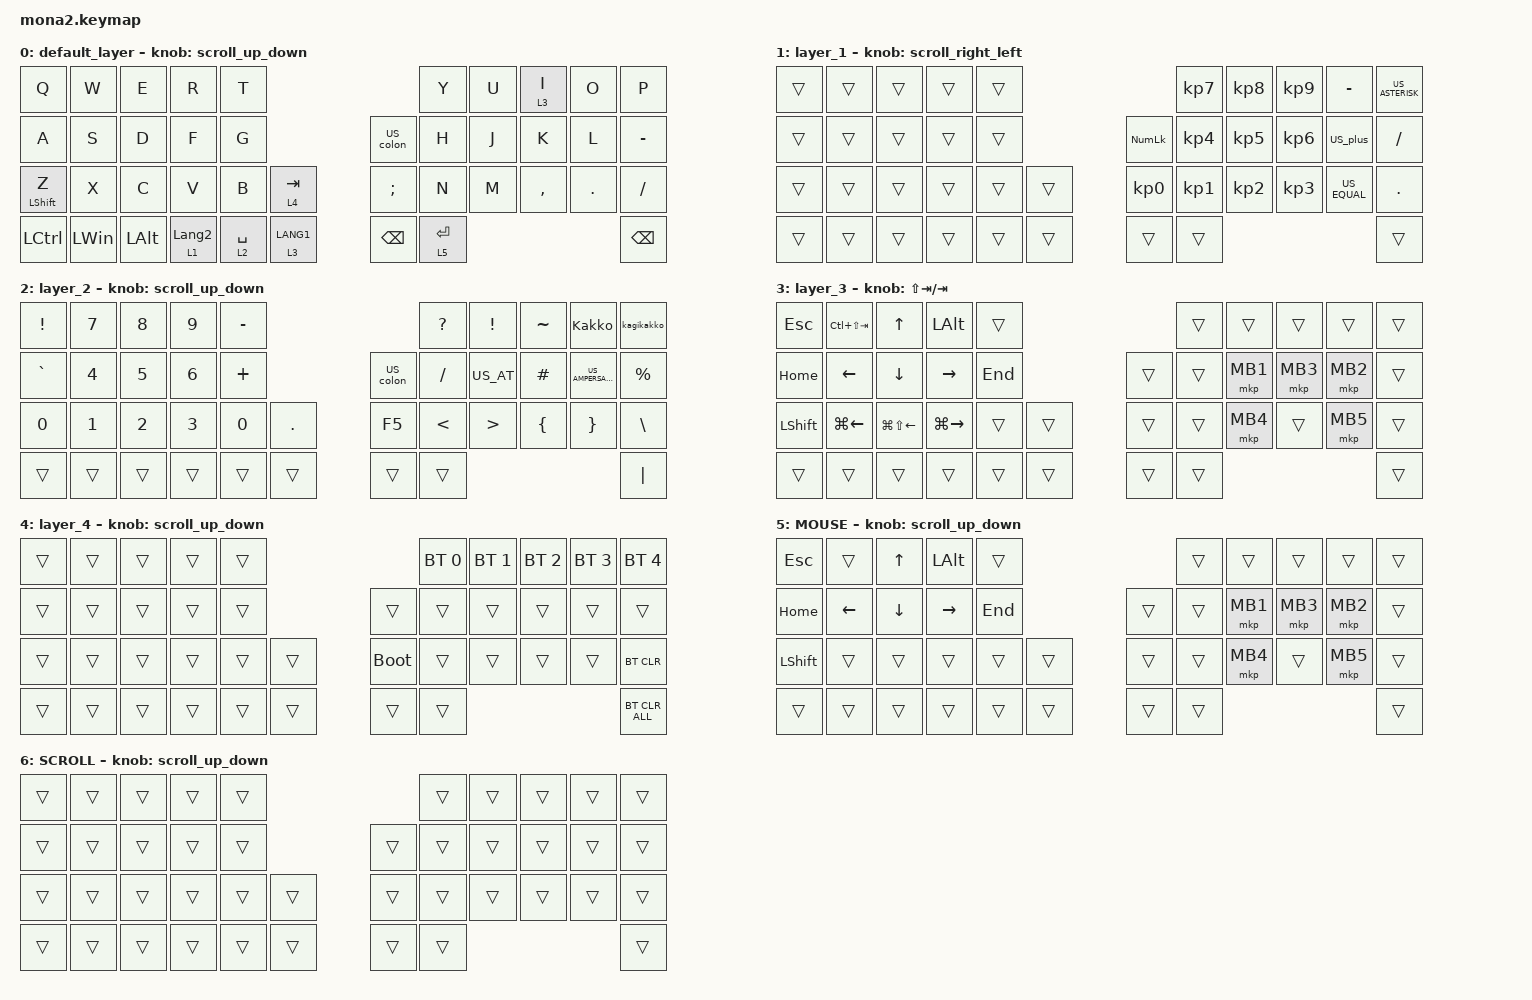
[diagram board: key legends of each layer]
#include <input/processors.dtsi>
#include <dt-bindings/zmk/input_transform.h>
#include <zephyr/dt-bindings/input/input-event-codes.h>
#include <behaviors.dtsi>
#include <dt-bindings/zmk/bt.h>
#include <dt-bindings/zmk/keys.h>
#include <dt-bindings/zmk/pointing.h>

#define ZMK_POINTING_DEFAULT_SCRL_VAL 100
#define MOUSE 5
#define SCROLL 6

/ {
    /omit-if-no-ref/

    zip_temp_layer: zip_temp_layer {
        compatible = "zmk,input-processor-temp-layer";
        #input-processor-cells = <2>;
        require-prior-idle-ms = <500>;   // ← 非マウスキー後0.5秒はAMLを起動しない
    };
};

&mt {
    flavor = "balanced";
    quick-tap-ms = <0>;
};

&lt {
    quick-tap-ms = <300>;
    flavor = "balanced";
};

/ {
    combos {
        compatible = "zmk,combos";

        escape {
            bindings = <&kp ESCAPE>;
            key-positions = <0 1>;
        };
    };

    macros {
        US_colon: to_layer_0 {
            compatible = "zmk,behavior-macro";
            #binding-cells = <0>;
            bindings = <&kp SINGLE_QUOTE>;
            label = "TO_LAYER_0";
        };

        US_EQUAL: US_to_JIS_Underbar {
            compatible = "zmk,behavior-macro";
            #binding-cells = <0>;
            bindings = <&kp UNDER>;
            label = "US_TO_JIS_UNDERBAR";
        };

        US_AMPERSAND: US_to_JIS_AMPERSAND {
            compatible = "zmk,behavior-macro";
            #binding-cells = <0>;
            bindings = <&kp CARET>;
            label = "US_TO_JIS_AMPERSAND";
        };

        US_plus: US_plus {
            compatible = "zmk,behavior-macro";
            #binding-cells = <0>;
            bindings = <&kp COLON>;
            label = "US_PLUS";
        };

        US_ASTERISK: US_ASTERISK {
            compatible = "zmk,behavior-macro";
            #binding-cells = <0>;
            bindings = <&kp DOUBLE_QUOTES>;
            label = "US_ASTERISK";
        };

        US_AT: US_AT {
            compatible = "zmk,behavior-macro";
            #binding-cells = <0>;
            bindings = <&kp LEFT_BRACKET>;
            label = "US_AT";
        };

        Kakko: US_LPAREN {
            compatible = "zmk,behavior-macro";
            #binding-cells = <0>;
            bindings = <&kp ASTERISK &kp LEFT_PARENTHESIS>;
            label = "US_LPAREN";
        };

        kagikakko: US_RPAREN {
            compatible = "zmk,behavior-macro";
            #binding-cells = <0>;
            bindings = <&kp RIGHT_PARENTHESIS &kp BACKSLASH>;
            label = "US_RPAREN";
        };
    };

    behaviors {
        lt_to_layer_0: lt_to_layer_0 {
            compatible = "zmk,behavior-hold-tap";
            label = "LAYER_TAP_TO_0";
            bindings = <&mo>, <&US_colon>;

            #binding-cells = <2>;
            tapping-term-ms = <200>;
        };

        scroll_up_down: mouse_wheel_up_down {
            compatible = "zmk,behavior-sensor-rotate";
            #sensor-binding-cells = <0>;
            bindings = <&msc SCRL_DOWN>, <&msc SCRL_UP>;

            tap-ms = <20>;
        };

        scroll_right_left: mouse_wheel_right_left {
            compatible = "zmk,behavior-sensor-rotate";
            #sensor-binding-cells = <0>;
            bindings = <&msc SCRL_LEFT>, <&msc SCRL_RIGHT>;

            tap-ms = <20>;
        };
    };

    keymap {
        compatible = "zmk,keymap";

        default_layer {
            bindings = <
&kp Q             &kp W         &kp E         &kp R             &kp T                                      &kp Y        &kp U  &lt 3 I    &kp O    &kp P
&kp A             &kp S         &kp D         &kp F             &kp G                       &US_colon      &kp H        &kp J  &kp K      &kp L    &kp MINUS
&mt LEFT_SHIFT Z  &kp X         &kp C         &kp V             &kp B        &lt 4 TAB      &kp SEMI       &kp N        &kp M  &kp COMMA  &kp DOT  &kp SLASH
&kp LCTRL         &kp LEFT_WIN  &kp LEFT_ALT  &lt 1 LANGUAGE_2  &lt 2 SPACE  &lt 3 LANG1    &kp BACKSPACE  &lt 5 ENTER                             &kp BACKSPACE
            >;

            sensor-bindings = <&scroll_up_down>;
        };

        layer_1 {
            bindings = <
&trans  &trans  &trans  &trans  &trans                             &kp KP_NUMBER_7  &kp KP_NUMBER_8  &kp KP_NUMBER_9  &kp MINUS  &US_ASTERISK
&trans  &trans  &trans  &trans  &trans            &kp KP_NUMLOCK   &kp KP_NUMBER_4  &kp KP_NUMBER_5  &kp KP_NUMBER_6  &US_plus   &kp SLASH
&trans  &trans  &trans  &trans  &trans  &trans    &kp KP_NUMBER_0  &kp KP_NUMBER_1  &kp KP_N2        &kp KP_NUMBER_3  &US_EQUAL  &kp PERIOD
&trans  &trans  &trans  &trans  &trans  &trans    &trans           &trans                                                        &trans
            >;

            sensor-bindings = <&scroll_right_left>;
        };

        layer_2 {
            bindings = <
&kp EXCLAMATION  &kp N7        &kp N8        &kp N9        &kp MINUS                           &kp QUESTION   &kp EXCLAMATION   &kp TILDE       &Kakko           &kagikakko
&kp GRAVE        &kp NUMBER_4  &kp N5        &kp NUMBER_6  &kp PLUS                 &US_colon  &kp SLASH      &US_AT            &kp HASH        &US_AMPERSAND    &kp PERCENT
&kp N0           &kp NUMBER_1  &kp NUMBER_2  &kp NUMBER_3  &kp N0     &kp PERIOD    &kp F5     &kp LESS_THAN  &kp GREATER_THAN  &kp LEFT_BRACE  &kp RIGHT_BRACE  &kp BACKSLASH
&trans           &trans        &trans        &trans        &trans     &trans        &trans     &trans                                                            &kp PIPE
            >;

            sensor-bindings = <&scroll_up_down>;
        };

        layer_3 {
            bindings = <
&kp ESCAPE      &kp LC(LS(TAB))  &kp UP_ARROW            &kp LEFT_ALT         &trans                     &trans  &trans    &trans    &trans    &trans
&kp HOME        &kp LEFT         &kp DOWN_ARROW          &kp RIGHT            &kp END            &trans  &trans  &mkp MB1  &mkp MB3  &mkp MB2  &trans
&kp LEFT_SHIFT  &kp LG(LEFT)     &kp LG(LS(LEFT_ARROW))  &kp LG(RIGHT_ARROW)  &trans   &trans    &trans  &trans  &mkp MB4  &trans    &mkp MB5  &trans
&trans          &trans           &trans                  &trans               &trans   &trans    &trans  &trans                                &trans
            >;

            sensor-bindings = <&inc_dec_kp LS(TAB) TAB>;
        };

        layer_4 {
            bindings = <
&trans  &trans  &trans  &trans  &trans                         &bt BT_SEL 0  &bt BT_SEL 1  &bt BT_SEL 2  &bt BT_SEL 3  &bt BT_SEL 4
&trans  &trans  &trans  &trans  &trans            &trans       &trans        &trans        &trans        &trans        &trans
&trans  &trans  &trans  &trans  &trans  &trans    &bootloader  &trans        &trans        &trans        &trans        &bt BT_CLR
&trans  &trans  &trans  &trans  &trans  &trans    &trans       &trans                                                  &bt BT_CLR_ALL
            >;

            sensor-bindings = <&scroll_up_down>;
        };

        MOUSE {
            bindings = <
&kp ESCAPE      &trans    &kp UP_ARROW  &kp LEFT_ALT  &trans                     &trans  &trans    &trans    &trans    &trans
&kp HOME        &kp LEFT  &kp DOWN      &kp RIGHT     &kp END            &trans  &trans  &mkp MB1  &mkp MB3  &mkp MB2  &trans
&kp LEFT_SHIFT  &trans    &trans        &trans        &trans   &trans    &trans  &trans  &mkp MB4  &trans    &mkp MB5  &trans
&trans          &trans    &trans        &trans        &trans   &trans    &trans  &trans                                &trans
            >;

            sensor-bindings = <&scroll_up_down>;
        };

        SCROLL {
            bindings = <
&trans  &trans  &trans  &trans  &trans                    &trans  &trans  &trans  &trans  &trans
&trans  &trans  &trans  &trans  &trans            &trans  &trans  &trans  &trans  &trans  &trans
&trans  &trans  &trans  &trans  &trans  &trans    &trans  &trans  &trans  &trans  &trans  &trans
&trans  &trans  &trans  &trans  &trans  &trans    &trans  &trans                          &trans
            >;

            sensor-bindings = <&scroll_up_down>;
        };
    };
};
